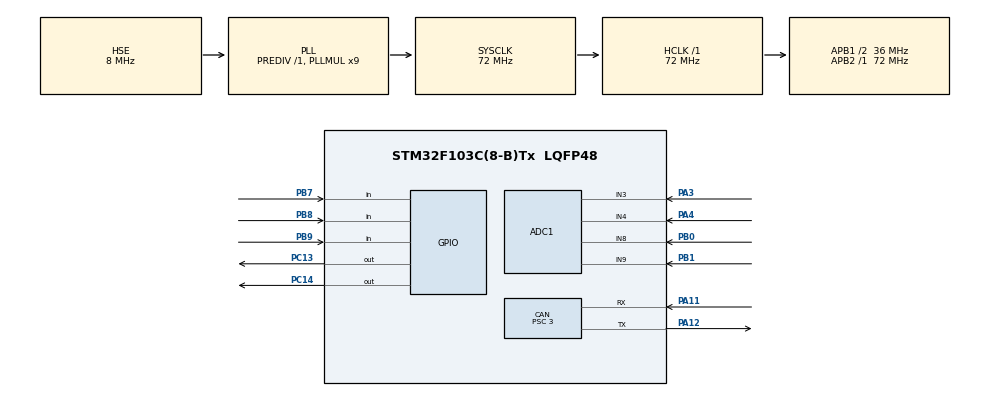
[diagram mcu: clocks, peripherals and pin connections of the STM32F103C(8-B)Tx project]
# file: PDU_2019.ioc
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ADC1.Channel-0\#ChannelRegularConversion=ADC_CHANNEL_3
ADC1.Channel-1\#ChannelRegularConversion=ADC_CHANNEL_4
ADC1.Channel-2\#ChannelRegularConversion=ADC_CHANNEL_8
ADC1.Channel-3\#ChannelRegularConversion=ADC_CHANNEL_9
ADC1.ContinuousConvMode=ENABLE
ADC1.NbrOfConversion=4
ADC1.NbrOfConversionFlag=1
ADC1.Rank-0\#ChannelRegularConversion=1
ADC1.Rank-1\#ChannelRegularConversion=2
ADC1.Rank-2\#ChannelRegularConversion=3
ADC1.Rank-3\#ChannelRegularConversion=4
ADC1.SamplingTime-0\#ChannelRegularConversion=ADC_SAMPLETIME_71CYCLES_5
ADC1.SamplingTime-1\#ChannelRegularConversion=ADC_SAMPLETIME_71CYCLES_5
ADC1.SamplingTime-2\#ChannelRegularConversion=ADC_SAMPLETIME_71CYCLES_5
ADC1.SamplingTime-3\#ChannelRegularConversion=ADC_SAMPLETIME_71CYCLES_5
ADC1.master=1
CAN.ABOM=ENABLE
CAN.BS1=CAN_BS1_5TQ
CAN.BS2=CAN_BS2_6TQ
CAN.CalculateTimeBit=1000
CAN.CalculateTimeQuantum=83.33333333333334
CAN.Prescaler=3
Dma.ADC1.0.Direction=DMA_PERIPH_TO_MEMORY
Dma.ADC1.0.Instance=DMA1_Channel1
Dma.ADC1.0.MemDataAlignment=DMA_MDATAALIGN_WORD
Dma.ADC1.0.MemInc=DMA_MINC_ENABLE
Dma.ADC1.0.Mode=DMA_CIRCULAR
Dma.ADC1.0.PeriphDataAlignment=DMA_PDATAALIGN_WORD
Dma.ADC1.0.PeriphInc=DMA_PINC_DISABLE
Dma.ADC1.0.Priority=DMA_PRIORITY_LOW
Dma.Request0=ADC1
Mcu.Family=STM32F1
Mcu.Name=STM32F103C(8-B)Tx
Mcu.Package=LQFP48
NVIC.DMA1_Channel1_IRQn=true\:0\:0\:false\:false\:true\:false\:true
NVIC.PriorityGroup=NVIC_PRIORITYGROUP_4
NVIC.TIM3_IRQn=true\:0\:0\:true\:false\:true\:true\:true
NVIC.USB_HP_CAN1_TX_IRQn=true\:1\:0\:true\:false\:true\:true\:true
PA11.GPIO_PuPd=GPIO_PULLUP
PA11.Mode=Master
PA11.Signal=CAN_RX
PA12.Mode=Master
PA12.Signal=CAN_TX
PA13.Mode=Serial_Wire
PA13.Signal=SYS_JTMS-SWDIO
PA14.Mode=Serial_Wire
PA14.Signal=SYS_JTCK-SWCLK
PA3.Signal=ADCx_IN3
PA4.Signal=ADCx_IN4
PB0.Signal=ADCx_IN8
PB1.Signal=ADCx_IN9
PB7.Signal=GPIO_Input
PB8.Signal=GPIO_Input
PB9.Signal=GPIO_Input
PC13-TAMPER-RTC.Signal=GPIO_Output
PC14-OSC32_IN.Signal=GPIO_Output
PD0-OSC_IN.Mode=HSE-External-Oscillator
PD0-OSC_IN.Signal=RCC_OSC_IN
PD1-OSC_OUT.Mode=HSE-External-Oscillator
PD1-OSC_OUT.Signal=RCC_OSC_OUT
ProjectManager.HeapSize=0x200
ProjectManager.StackSize=0x400
ProjectManager.TargetToolchain=SW4STM32
RCC.ADCPresc=RCC_ADCPCLK2_DIV6
RCC.AHBFreq_Value=72000000
RCC.APB1CLKDivider=RCC_HCLK_DIV2
RCC.APB1Freq_Value=36000000
RCC.APB1TimFreq_Value=72000000
RCC.APB2Freq_Value=72000000
RCC.APB2TimFreq_Value=72000000
RCC.HCLKFreq_Value=72000000
RCC.PLLMUL=RCC_PLL_MUL9
RCC.PLLSourceVirtual=RCC_PLLSOURCE_HSE
RCC.SYSCLKFreq_VALUE=72000000
RCC.SYSCLKSource=RCC_SYSCLKSOURCE_PLLCLK
RCC.USBFreq_Value=72000000
SH.ADCx_IN3.0=ADC1_IN3,IN3
SH.ADCx_IN4.0=ADC1_IN4,IN4
SH.ADCx_IN8.0=ADC1_IN8,IN8
SH.ADCx_IN9.0=ADC1_IN9,IN9
TIM3.Period=49
TIM3.Prescaler=36000
VP_TIM3_VS_ClockSourceINT.Mode=Internal
board=custom

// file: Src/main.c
/**
  ******************************************************************************
  * @file           : main.c
  * @brief          : Main program body
  ******************************************************************************
  ** This notice applies to any and all portions of this file
  * that are not between comment pairs USER CODE BEGIN and
  * USER CODE END. Other portions of this file, whether
  * inserted by the user or by software development tools
  * are owned by their respective copyright owners.
  *
  * COPYRIGHT(c) 2020 STMicroelectronics
  *
  * Redistribution and use in source and binary forms, with or without modification,
  * are permitted provided that the following conditions are met:
  *   1. Redistributions of source code must retain the above copyright notice,
  *      this list of conditions and the following disclaimer.
  *   2. Redistributions in binary form must reproduce the above copyright notice,
  *      this list of conditions and the following disclaimer in the documentation
  *      and/or other materials provided with the distribution.
  *   3. Neither the name of STMicroelectronics nor the names of its contributors
  *      may be used to endorse or promote products derived from this software
  *      without specific prior written permission.
  *
  * THIS SOFTWARE IS PROVIDED BY THE COPYRIGHT HOLDERS AND CONTRIBUTORS "AS IS"
  * AND ANY EXPRESS OR IMPLIED WARRANTIES, INCLUDING, BUT NOT LIMITED TO, THE
  * IMPLIED WARRANTIES OF MERCHANTABILITY AND FITNESS FOR A PARTICULAR PURPOSE ARE
  * DISCLAIMED. IN NO EVENT SHALL THE COPYRIGHT HOLDER OR CONTRIBUTORS BE LIABLE
  * FOR ANY DIRECT, INDIRECT, INCIDENTAL, SPECIAL, EXEMPLARY, OR CONSEQUENTIAL
  * DAMAGES (INCLUDING, BUT NOT LIMITED TO, PROCUREMENT OF SUBSTITUTE GOODS OR
  * SERVICES; LOSS OF USE, DATA, OR PROFITS; OR BUSINESS INTERRUPTION) HOWEVER
  * CAUSED AND ON ANY THEORY OF LIABILITY, WHETHER IN CONTRACT, STRICT LIABILITY,
  * OR TORT (INCLUDING NEGLIGENCE OR OTHERWISE) ARISING IN ANY WAY OUT OF THE USE
  * OF THIS SOFTWARE, EVEN IF ADVISED OF THE POSSIBILITY OF SUCH DAMAGE.
  *
  ******************************************************************************
  */
#include "main.h"
#include "stm32f1xx_hal.h"

ADC_HandleTypeDef hadc1;
DMA_HandleTypeDef hdma_adc1;

CAN_HandleTypeDef hcan;

TIM_HandleTypeDef htim3;

/* USER CODE BEGIN PV */
/* Private variables ---------------------------------------------------------*/
/* Comunicacao CAN*/
int n = 1, canOK = 1;

/* Dados: acioMata, acioBomba, acioVent, corBomba, corVent, tempMosV, tempMosB */

/* Acionamentos */
uint8_t acioMata = 0, acioBomba = 0, acioVent = 0;

/* ADC */
uint32_t adc_buffer[400], ADC[4]= {0,0,0,0};
uint16_t corBomba = 0, corVent = 0, tempMosV = 0, tempMosB = 0;
/* USER CODE END PV */

void SystemClock_Config(void);
static void MX_GPIO_Init(void);
static void MX_DMA_Init(void);
static void MX_CAN_Init(void);
static void MX_TIM3_Init(void);
static void MX_ADC1_Init(void);

/* USER CODE BEGIN PFP */
/* Private function prototypes -----------------------------------------------*/
static void CAN_Config(void);
void HAL_CAN_TxCpltCallback (CAN_HandleTypeDef * hcan);
void HAL_ADC_ConvCpltCallback(ADC_HandleTypeDef* hadc){
	int i;
	for(i=200;i<=396;i+=4){
		ADC[0] = adc_buffer[i]+ ADC[0];
		ADC[1] = adc_buffer[i+1]+ ADC[1];
		ADC[2] = adc_buffer[i+2]+ ADC[2];
		ADC[3] = adc_buffer[i+3]+ ADC[3];
	}
	ADC[0] = ADC[0]/100;
	ADC[1] = ADC[1]/100;
	ADC[2] = ADC[2]/100;
	ADC[3] = ADC[3]/100;

	corBomba = ADC[0];
	corVent = ADC[1];
	tempMosV = ADC[2];
	tempMosB = ADC[3];
}
void HAL_ADC_ConvHalfCpltCallback(ADC_HandleTypeDef* hadc){
	int i;
	for(i=0;i<=196;i+=4){
		ADC[0] = adc_buffer[i]+ ADC[0];
		ADC[1] = adc_buffer[i+1]+ ADC[1];
		ADC[2] = adc_buffer[i+2]+ ADC[2];
		ADC[3] = adc_buffer[i+3]+ ADC[3];
	}
}
/* USER CODE END PFP */

int main(void)
{

  /* MCU Configuration----------------------------------------------------------*/

  /* Reset of all peripherals, Initializes the Flash interface and the Systick. */
  HAL_Init();

  /* Configure the system clock */
  SystemClock_Config();

  /* Initialize all configured peripherals */
  MX_GPIO_Init();
  MX_DMA_Init();
  MX_CAN_Init();
  MX_TIM3_Init();
  MX_ADC1_Init();
  /* USER CODE BEGIN 2 */

  /* Pisca os leds para sinalizar o inicio do codigo */
  HAL_GPIO_WritePin(GPIOC, GPIO_PIN_13, GPIO_PIN_RESET);
  HAL_Delay(500);
  HAL_GPIO_WritePin(GPIOC, GPIO_PIN_13, GPIO_PIN_SET);
  HAL_Delay(500);
  HAL_GPIO_WritePin(GPIOC, GPIO_PIN_13, GPIO_PIN_RESET);
  HAL_Delay(500);

  /* Funcoes de inicializacao das mensagens CAN */
  CAN_Config();

  /* Inicializa ADC no modo circular */
  HAL_ADC_Start_DMA(&hadc1, adc_buffer, 400);

  /* Sinaliza para timer começar a contagem */
  HAL_TIM_Base_Start_IT(&htim3);

//	 if (HAL_CAN_Transmit_IT(&hcan) != HAL_OK)
//	 {
//	   /* Transmition Error. Se deu erro no envio o LED 13 vai piscar */
//	 }

  /* USER CODE END 2 */

  /* Infinite loop */
  while (1)
  {

  }

}

void SystemClock_Config(void)
{

  RCC_OscInitTypeDef RCC_OscInitStruct;
  RCC_ClkInitTypeDef RCC_ClkInitStruct;
  RCC_PeriphCLKInitTypeDef PeriphClkInit;

    /**Initializes the CPU, AHB and APB busses clocks
    */
  RCC_OscInitStruct.OscillatorType = RCC_OSCILLATORTYPE_HSE;
  RCC_OscInitStruct.HSEState = RCC_HSE_ON;
  RCC_OscInitStruct.HSEPredivValue = RCC_HSE_PREDIV_DIV1;
  RCC_OscInitStruct.HSIState = RCC_HSI_ON;
  RCC_OscInitStruct.PLL.PLLState = RCC_PLL_ON;
  RCC_OscInitStruct.PLL.PLLSource = RCC_PLLSOURCE_HSE;
  RCC_OscInitStruct.PLL.PLLMUL = RCC_PLL_MUL9;
  if (HAL_RCC_OscConfig(&RCC_OscInitStruct) != HAL_OK)
  {
    _Error_Handler(__FILE__, __LINE__);
  }

    /**Initializes the CPU, AHB and APB busses clocks
    */
  RCC_ClkInitStruct.ClockType = RCC_CLOCKTYPE_HCLK|RCC_CLOCKTYPE_SYSCLK
                              |RCC_CLOCKTYPE_PCLK1|RCC_CLOCKTYPE_PCLK2;
  RCC_ClkInitStruct.SYSCLKSource = RCC_SYSCLKSOURCE_PLLCLK;
  RCC_ClkInitStruct.AHBCLKDivider = RCC_SYSCLK_DIV1;
  RCC_ClkInitStruct.APB1CLKDivider = RCC_HCLK_DIV2;
  RCC_ClkInitStruct.APB2CLKDivider = RCC_HCLK_DIV1;

  if (HAL_RCC_ClockConfig(&RCC_ClkInitStruct, FLASH_LATENCY_2) != HAL_OK)
  {
    _Error_Handler(__FILE__, __LINE__);
  }

  PeriphClkInit.PeriphClockSelection = RCC_PERIPHCLK_ADC;
  PeriphClkInit.AdcClockSelection = RCC_ADCPCLK2_DIV6;
  if (HAL_RCCEx_PeriphCLKConfig(&PeriphClkInit) != HAL_OK)
  {
    _Error_Handler(__FILE__, __LINE__);
  }

    /**Configure the Systick interrupt time
    */
  HAL_SYSTICK_Config(HAL_RCC_GetHCLKFreq()/1000);

    /**Configure the Systick
    */
  HAL_SYSTICK_CLKSourceConfig(SYSTICK_CLKSOURCE_HCLK);

  /* SysTick_IRQn interrupt configuration */
  HAL_NVIC_SetPriority(SysTick_IRQn, 0, 0);
}

/* ADC1 init function */
static void MX_ADC1_Init(void)
{

  ADC_ChannelConfTypeDef sConfig;

    /**Common config
    */
  hadc1.Instance = ADC1;
  hadc1.Init.ScanConvMode = ADC_SCAN_ENABLE;
  hadc1.Init.ContinuousConvMode = ENABLE;
  hadc1.Init.DiscontinuousConvMode = DISABLE;
  hadc1.Init.ExternalTrigConv = ADC_SOFTWARE_START;
  hadc1.Init.DataAlign = ADC_DATAALIGN_RIGHT;
  hadc1.Init.NbrOfConversion = 4;
  if (HAL_ADC_Init(&hadc1) != HAL_OK)
  {
    _Error_Handler(__FILE__, __LINE__);
  }

    /**Configure Regular Channel
    */
  sConfig.Channel = ADC_CHANNEL_3;
  sConfig.Rank = ADC_REGULAR_RANK_1;
  sConfig.SamplingTime = ADC_SAMPLETIME_71CYCLES_5;
  if (HAL_ADC_ConfigChannel(&hadc1, &sConfig) != HAL_OK)
  {
    _Error_Handler(__FILE__, __LINE__);
  }

    /**Configure Regular Channel
    */
  sConfig.Channel = ADC_CHANNEL_4;
  sConfig.Rank = ADC_REGULAR_RANK_2;
  if (HAL_ADC_ConfigChannel(&hadc1, &sConfig) != HAL_OK)
  {
    _Error_Handler(__FILE__, __LINE__);
  }

    /**Configure Regular Channel
    */
  sConfig.Channel = ADC_CHANNEL_8;
  sConfig.Rank = ADC_REGULAR_RANK_3;
  if (HAL_ADC_ConfigChannel(&hadc1, &sConfig) != HAL_OK)
  {
    _Error_Handler(__FILE__, __LINE__);
  }

    /**Configure Regular Channel
    */
  sConfig.Channel = ADC_CHANNEL_9;
  sConfig.Rank = ADC_REGULAR_RANK_4;
  if (HAL_ADC_ConfigChannel(&hadc1, &sConfig) != HAL_OK)
  {
    _Error_Handler(__FILE__, __LINE__);
  }

}

/* CAN init function */
static void MX_CAN_Init(void)
{

  hcan.Instance = CAN1;
  hcan.Init.Prescaler = 3;
  hcan.Init.Mode = CAN_MODE_NORMAL;
  hcan.Init.SJW = CAN_SJW_1TQ;
  hcan.Init.BS1 = CAN_BS1_5TQ;
  hcan.Init.BS2 = CAN_BS2_6TQ;
  hcan.Init.TTCM = DISABLE;
  hcan.Init.ABOM = ENABLE;
  hcan.Init.AWUM = DISABLE;
  hcan.Init.NART = DISABLE;
  hcan.Init.RFLM = DISABLE;
  hcan.Init.TXFP = DISABLE;
  if (HAL_CAN_Init(&hcan) != HAL_OK)
  {
    _Error_Handler(__FILE__, __LINE__);
  }

}

/* TIM3 init function */
static void MX_TIM3_Init(void)
{

  TIM_ClockConfigTypeDef sClockSourceConfig;
  TIM_MasterConfigTypeDef sMasterConfig;

  htim3.Instance = TIM3;
  htim3.Init.Prescaler = 36000;
  htim3.Init.CounterMode = TIM_COUNTERMODE_UP;
  htim3.Init.Period = 49;
  htim3.Init.ClockDivision = TIM_CLOCKDIVISION_DIV1;
  htim3.Init.AutoReloadPreload = TIM_AUTORELOAD_PRELOAD_DISABLE;
  if (HAL_TIM_Base_Init(&htim3) != HAL_OK)
  {
    _Error_Handler(__FILE__, __LINE__);
  }

  sClockSourceConfig.ClockSource = TIM_CLOCKSOURCE_INTERNAL;
  if (HAL_TIM_ConfigClockSource(&htim3, &sClockSourceConfig) != HAL_OK)
  {
    _Error_Handler(__FILE__, __LINE__);
  }

  sMasterConfig.MasterOutputTrigger = TIM_TRGO_RESET;
  sMasterConfig.MasterSlaveMode = TIM_MASTERSLAVEMODE_DISABLE;
  if (HAL_TIMEx_MasterConfigSynchronization(&htim3, &sMasterConfig) != HAL_OK)
  {
    _Error_Handler(__FILE__, __LINE__);
  }

}

static void MX_DMA_Init(void)
{
  /* DMA controller clock enable */
  __HAL_RCC_DMA1_CLK_ENABLE();

  /* DMA interrupt init */
  /* DMA1_Channel1_IRQn interrupt configuration */
  HAL_NVIC_SetPriority(DMA1_Channel1_IRQn, 0, 0);
  HAL_NVIC_EnableIRQ(DMA1_Channel1_IRQn);

}

/** Configure pins as
        * Analog
        * Input
        * Output
        * EVENT_OUT
        * EXTI
*/
static void MX_GPIO_Init(void)
{

  GPIO_InitTypeDef GPIO_InitStruct;

  /* GPIO Ports Clock Enable */
  __HAL_RCC_GPIOC_CLK_ENABLE();
  __HAL_RCC_GPIOD_CLK_ENABLE();
  __HAL_RCC_GPIOA_CLK_ENABLE();
  __HAL_RCC_GPIOB_CLK_ENABLE();

  /*Configure GPIO pin Output Level */
  HAL_GPIO_WritePin(GPIOC, GPIO_PIN_13|GPIO_PIN_14, GPIO_PIN_RESET);

  /*Configure GPIO pins : PC13 PC14 */
  GPIO_InitStruct.Pin = GPIO_PIN_13|GPIO_PIN_14;
  GPIO_InitStruct.Mode = GPIO_MODE_OUTPUT_PP;
  GPIO_InitStruct.Pull = GPIO_NOPULL;
  GPIO_InitStruct.Speed = GPIO_SPEED_FREQ_LOW;
  HAL_GPIO_Init(GPIOC, &GPIO_InitStruct);

  /*Configure GPIO pins : PB7 PB8 PB9 */
  GPIO_InitStruct.Pin = GPIO_PIN_7|GPIO_PIN_8|GPIO_PIN_9;
  GPIO_InitStruct.Mode = GPIO_MODE_INPUT;
  GPIO_InitStruct.Pull = GPIO_NOPULL;
  HAL_GPIO_Init(GPIOB, &GPIO_InitStruct);

}

/* USER CODE BEGIN 4 */

static void CAN_Config(void)
{
  CAN_FilterConfTypeDef  sFilterConfig;
 static CanTxMsgTypeDef        TxMessage;     //--
 static CanRxMsgTypeDef        RxMessage;     //-- codigo original

  /*##-1- Configure the CAN peripheral #######################################*/
   hcan.pTxMsg = &TxMessage;     //-- codigo original
   hcan.pRxMsg = &RxMessage;	  // --

  /*##-2- Configure the CAN Filter ###########################################*/
  sFilterConfig.FilterNumber = 0;
  sFilterConfig.FilterMode = CAN_FILTERMODE_IDMASK;
  sFilterConfig.FilterScale = CAN_FILTERSCALE_32BIT;
  sFilterConfig.FilterIdHigh = 0x0000;
  sFilterConfig.FilterIdLow = 0x0000;
  sFilterConfig.FilterMaskIdHigh = 0x0000;
  sFilterConfig.FilterMaskIdLow = 0x0000;
  sFilterConfig.FilterFIFOAssignment = 0;
  sFilterConfig.FilterActivation = ENABLE;
  sFilterConfig.BankNumber = 14;

  if (HAL_CAN_ConfigFilter(&hcan, &sFilterConfig) != HAL_OK)
  {
    /* Filter configuration Error */
    Error_Handler();
  }

  /*##-3- Configure Transmission process #####################################*/
  hcan.pTxMsg->StdId = 0x001;
  hcan.pTxMsg->ExtId = 0x305<<19;
  hcan.pTxMsg->RTR = CAN_RTR_DATA;
  /*configurando como extended id (29 bits)*/
  hcan.pTxMsg->IDE = CAN_ID_EXT;
  hcan.pTxMsg->DLC = 8;
}

void HAL_TIM_PeriodElapsedCallback(TIM_HandleTypeDef *htim){
	if(canOK == 1){
		HAL_GPIO_TogglePin(GPIOC, GPIO_PIN_13);
		acioBomba = HAL_GPIO_ReadPin(GPIOB, GPIO_PIN_7);
		acioVent = HAL_GPIO_ReadPin(GPIOB, GPIO_PIN_8);
		acioMata = HAL_GPIO_ReadPin(GPIOB, GPIO_PIN_9);
		hcan.pTxMsg->Data[0] = corVent>>8 | acioVent<<7;
		hcan.pTxMsg->Data[1] = corVent;
		hcan.pTxMsg->Data[2] = corBomba>>8 | acioBomba<<7;
		hcan.pTxMsg->Data[3] = corBomba;
		hcan.pTxMsg->Data[4] = tempMosV>>8 | acioMata<<7;
		hcan.pTxMsg->Data[5] = tempMosV;
		hcan.pTxMsg->Data[6] = tempMosB>>8;
		hcan.pTxMsg->Data[7] = tempMosB;
		canOK = 0;
		/* Start the Transmission process */
		 if (HAL_CAN_Transmit_IT(&hcan) != HAL_OK)
		 {
		   /* Transmition Error. Se deu erro no envio o LED 13 vai piscar */
		 }
	}
}

void HAL_CAN_TxCpltCallback(CAN_HandleTypeDef * hcan){
	canOK = 1;
}

/* USER CODE END 4 */

void _Error_Handler(char *file, int line)
{
  while(1)
  {
  }
}

/************************ (C) COPYRIGHT STMicroelectronics *****END OF FILE****/
